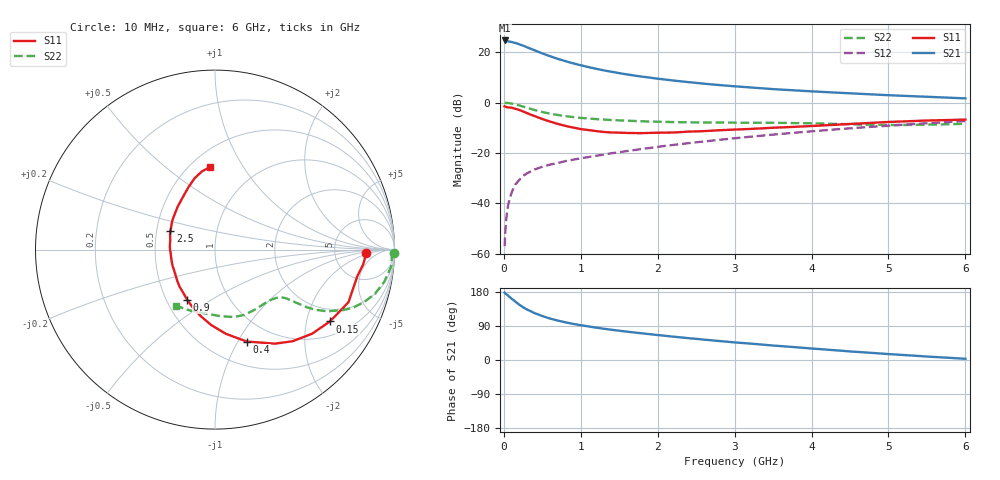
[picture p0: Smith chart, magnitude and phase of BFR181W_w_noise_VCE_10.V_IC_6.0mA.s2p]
! Infineon Technologies  Discrete & RF Semiconductors
! BFR181W
! VCE =  10. V,  IC =  6.0 mA
! Common Emitter S-Parameters:  Jan 2017
# GHz  S  MA  R  50
!  f  S11  S21  S12  S22
! GHz  MAG  ANG  MAG  ANG  MAG  ANG  MAG  ANG
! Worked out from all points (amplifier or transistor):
!   77 points, 10 MHz to 6 GHz, reference 50 ohm
!   highest |S21| = 24.7 dB at 10 MHz (marker M1)
!   |S21| within 3 dB of that: start of sweep to 324.2 MHz
!   unconditionally stable (mu >= 1): 1.287 GHz to 3.334 GHz
!   at 130 MHz: K = 0.19, MSG = 28.8 dB, |S12| = -33.7 dB
!   at 2.2 GHz: K = 1.07, MAG = 11.2 dB, |S12| = -16.8 dB
!   at 6 GHz: K = 0.86, MSG = 4.5 dB, |S12| = -7.3 dB
!   lowest NFmin = 1.03 dB at 450 MHz
!   S11 on the Smith chart (normalised r, x): 10 MHz: 12, -1; 150 MHz: 1.48, -2.77; 400 MHz: 0.75, -1.09; 900 MHz: 0.64, -0.40; 2.5 GHz: 0.59, +0.13; 6 GHz: 0.62, +0.73
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0.01  0.8433 -1.2  17.26 178.1  0.0014 81.1  0.9967 -1.1
0.02  0.8299 -5.7  17.07 175.5  0.0028 92.1  0.9864 -2.0
0.04  0.8136 -8.9  16.79 172.3  0.0063 86.5  0.986 -4.3
0.1  0.7995 -21.5  16.11 161.9  0.016 78.5  0.9596 -10.8
0.15  0.7552 -32.0  15.39 153.9  0.0237 74.2  0.9242 -15.5
0.2  0.7157 -40.9  14.49 146.1  0.0289 71.6  0.8804 -19.4
0.25  0.6686 -49.8  13.61 139.2  0.0349 66.8  0.8365 -22.7
0.3  0.6208 -57.6  12.65 133.3  0.0392 63.8  0.791 -25.2
0.4  0.5417 -71.0  11 123.5  0.0468 60.9  0.714 -28.8
0.5  0.4732 -82.6  9.542 115.9  0.0531 58.5  0.6528 -30.9
0.6  0.4213 -92.8  8.397 109.4  0.0587 57.5  0.6048 -32.1
0.7  0.3784 -102.3  7.449 104.1  0.063 57.5  0.568 -32.7
0.9  0.3199 -118.9  6.058 95.3  0.0734 58.3  0.5166 -33.6
1.1  0.2853 -134.0  5.098 88.6  0.083 59.6  0.4843 -34.3
1.3  0.2612 -147.6  4.388 82.5  0.0929 60.6  0.4612 -35.4
1.6  0.25 -164.9  3.646 74.8  0.1091 61.8  0.4389 -37.7
2.1  0.2531 171.9  2.877 63.8  0.1383 62.5  0.4145 -43.8
2.5  0.2683 157.6  2.473 55.8  0.1628 62.1  0.4051 -49.9
3.1  0.2957 140.5  2.062 44.9  0.203 60.5  0.3995 -59.5
4.1  0.3495 119.6  1.649 28.9  0.277 55.4  0.3857 -76.4
5.1  0.4185 104.6  1.387 14.4  0.3565 47.9  0.3598 -100.7
6  0.461 93.4  1.218 3.2  0.4313 39.8  0.3812 -124.7
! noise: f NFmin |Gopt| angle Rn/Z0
0.45  1.03  0.28  16  0.22
0.9  1.07  0.26  30  0.22
1.9  1.49  0.12  82  0.19
2.4  1.65  0.1  95  0.23
